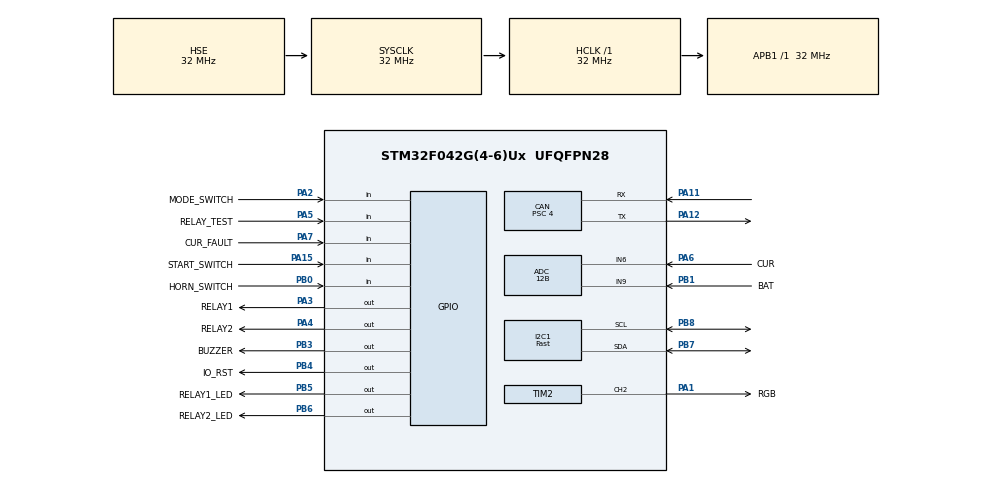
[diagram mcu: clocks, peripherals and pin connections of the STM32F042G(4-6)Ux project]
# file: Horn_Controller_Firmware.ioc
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ADC.Resolution=ADC_RESOLUTION_12B
ADC.SamplingTime=ADC_SAMPLETIME_239CYCLES_5
CAN.ABOM=ENABLE
CAN.BS1=CAN_BS1_4TQ
CAN.BS2=CAN_BS2_3TQ
CAN.CalculateBaudRate=1000000
CAN.CalculateTimeBit=1000
CAN.CalculateTimeQuantum=125.0
CAN.NART=ENABLE
CAN.Prescaler=4
Dma.ADC.1.Direction=DMA_PERIPH_TO_MEMORY
Dma.ADC.1.Instance=DMA1_Channel1
Dma.ADC.1.MemDataAlignment=DMA_MDATAALIGN_WORD
Dma.ADC.1.MemInc=DMA_MINC_ENABLE
Dma.ADC.1.Mode=DMA_NORMAL
Dma.ADC.1.PeriphDataAlignment=DMA_PDATAALIGN_HALFWORD
Dma.ADC.1.PeriphInc=DMA_PINC_DISABLE
Dma.ADC.1.Priority=DMA_PRIORITY_LOW
Dma.Request0=TIM2_CH2
Dma.Request1=ADC
Dma.TIM2_CH2.0.Direction=DMA_MEMORY_TO_PERIPH
Dma.TIM2_CH2.0.Instance=DMA1_Channel3
Dma.TIM2_CH2.0.MemDataAlignment=DMA_MDATAALIGN_BYTE
Dma.TIM2_CH2.0.MemInc=DMA_MINC_ENABLE
Dma.TIM2_CH2.0.Mode=DMA_NORMAL
Dma.TIM2_CH2.0.PeriphDataAlignment=DMA_PDATAALIGN_WORD
Dma.TIM2_CH2.0.PeriphInc=DMA_PINC_DISABLE
Dma.TIM2_CH2.0.Priority=DMA_PRIORITY_LOW
FREERTOS.MEMORY_ALLOCATION=1
FREERTOS.Queues01=hornSequenceQueue,1,uint8_t,0,Static,hornSequenceQueueBuffer,hornSequenceQueueControlBlock;canReceiveQueue,1,uint8_t,0,Static,canReceiveQueueBuffer,canReceiveQueueControlBlock;hornCheckQueue,1,uint8_t,0,Static,hornCheckQueueBuffer,hornCheckQueueControlBlock
FREERTOS.Tasks01=defaultTask,-1,64,StartDefaultTask,Default,NULL,Static,defaultTaskBuffer,defaultTaskControlBlock;displayTask,0,80,StartDisplayTask,Default,NULL,Static,displayTaskBuffer,displayTaskControlBlock;hornTask,1,80,StartHornTask,Default,NULL,Static,HornTaskBuffer,HornTaskControlBlock;CANReceiveTask,3,80,StartCANReceiveTask,Default,NULL,Static,CANReceiveTaskBuffer,CANReceiveTaskControlBlock;hornCheckTask,2,80,StartHornCheckTask,Default,NULL,Static,hornCheckTaskBuffer,hornCheckTaskControlBlock
FREERTOS.configMINIMAL_STACK_SIZE=64
FREERTOS.configUSE_MUTEXES=0
FREERTOS.configUSE_NEWLIB_REENTRANT=1
FREERTOS.configUSE_TASK_NOTIFICATIONS=1
I2C1.I2C_Speed_Mode=I2C_Fast
I2C1.Timing=0x0000020B
Mcu.Family=STM32F0
Mcu.Name=STM32F042G(4-6)Ux
Mcu.Package=UFQFPN28
NVIC.CEC_CAN_IRQn=true\:3\:0\:false\:false\:true\:true\:true\:true\:true
NVIC.DMA1_Channel1_IRQn=true\:3\:0\:false\:false\:true\:true\:false\:true\:true
NVIC.DMA1_Channel2_3_IRQn=true\:3\:0\:false\:false\:true\:true\:false\:true\:true
NVIC.TIM1_BRK_UP_TRG_COM_IRQn=true\:3\:0\:false\:false\:true\:false\:false\:true\:true
NVIC.TIM2_IRQn=true\:3\:0\:false\:false\:true\:true\:true\:true\:true
NVIC.TimeBase=TIM1_BRK_UP_TRG_COM_IRQn
NVIC.TimeBaseIP=TIM1
PA1.GPIO_Label=RGB
PA1.Signal=S_TIM2_CH2
PA11.Mode=CAN_Activate
PA11.Signal=CAN_RX
PA12.Mode=CAN_Activate
PA12.Signal=CAN_TX
PA13.Mode=Serial_Wire
PA13.Signal=SYS_SWDIO
PA14.Mode=Serial_Wire
PA14.Signal=SYS_SWCLK
PA15.GPIO_Label=START_SWITCH
PA15.Signal=GPIO_Input
PA2.GPIO_Label=MODE_SWITCH
PA2.Signal=GPIO_Input
PA3.GPIO_Label=RELAY1
PA3.Signal=GPIO_Output
PA4.GPIO_Label=RELAY2
PA4.Signal=GPIO_Output
PA5.GPIO_Label=RELAY_TEST
PA5.GPIO_PuPd=GPIO_PULLUP
PA5.Signal=GPIO_Input
PA6.GPIO_Label=CUR
PA6.Mode=IN6
PA6.Signal=ADC_IN6
PA7.GPIO_Label=CUR_FAULT
PA7.Signal=GPIO_Input
PB0.GPIO_Label=HORN_SWITCH
PB0.Signal=GPIO_Input
PB1.GPIO_Label=BAT
PB1.Mode=IN9
PB1.Signal=ADC_IN9
PB3.GPIO_Label=BUZZER
PB3.Signal=GPIO_Output
PB4.GPIO_Label=IO_RST
PB4.Signal=GPIO_Output
PB5.GPIO_Label=RELAY1_LED
PB5.Signal=GPIO_Output
PB6.GPIO_Label=RELAY2_LED
PB6.Signal=GPIO_Output
PB7.Mode=I2C
PB7.Signal=I2C1_SDA
PB8.Mode=I2C
PB8.Signal=I2C1_SCL
PF0-OSC_IN.Mode=HSE-External-Oscillator
PF0-OSC_IN.Signal=RCC_OSC_IN
PF1-OSC_OUT.Mode=HSE-External-Oscillator
PF1-OSC_OUT.Signal=RCC_OSC_OUT
ProjectManager.HeapSize=0x200
ProjectManager.StackSize=0x400
ProjectManager.TargetToolchain=STM32CubeIDE
RCC.AHBFreq_Value=32000000
RCC.APB1Freq_Value=32000000
RCC.APB1TimFreq_Value=32000000
RCC.HCLKFreq_Value=32000000
RCC.HSE_VALUE=32000000
RCC.PLLSourceVirtual=RCC_PLLSOURCE_HSE
RCC.SYSCLKFreq_VALUE=32000000
RCC.SYSCLKSource=RCC_SYSCLKSOURCE_HSE
SH.S_TIM2_CH2.0=TIM2_CH2,PWM Generation2 CH2
TIM2.Channel-PWM\ Generation2\ CH2=TIM_CHANNEL_2
TIM2.Period=39
VP_FREERTOS_VS_CMSIS_V1.Mode=CMSIS_V1
VP_SYS_VS_PINREMAP.Mode=PINREMAP
VP_SYS_VS_tim1.Mode=TIM1
board=custom

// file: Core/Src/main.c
/* USER CODE BEGIN Header */
/**
  ******************************************************************************
  * @file           : main.c
  * @brief          : Main program body
  ******************************************************************************
  * @attention
  *
  * Copyright (c) 2024 STMicroelectronics.
  * All rights reserved.
  *
  * This software is licensed under terms that can be found in the LICENSE file
  * in the root directory of this software component.
  * If no LICENSE file comes with this software, it is provided AS-IS.
  *
  ******************************************************************************
  */
/* USER CODE END Header */
#include "main.h"
#include "cmsis_os.h"

/* USER CODE BEGIN Includes */
#include "Display.h"
#include "TCA6424.h"
#include "WS2812.h"
/* USER CODE END Includes */

/* USER CODE BEGIN PD */
#define HORN_MODE_THREE_MINUTE 1
#define HORN_MODE_FIVE_MINUTE 0
#define HORN_MODE_ROLLING 0b10
#define HORN_MODE_STOP 0b11

#define RELAY_OK 0
#define RELAY_ERR 1
#define RELAY_TWO 1
#define RELAY_ONE 0

#define RGB_BAT 0
#define RGB_REMOTE 1
#define RGB_MODE 2

#define ADC_CUR 0
#define ADC_BAT 1

#define CAN_REMOTE_ID ((0xBB)<<3)
#define CAN_CONTROLLER_ID ((0xAA)<<3)
#define CAN_MSG_START 0b010
#define CAN_MSG_HORN 0b011
#define CAN_MSG_PERIODIC 0b000
#define CAN_MSG_TIME 0b001
#define CAN_MSG_ERROR 0b111
#define CAN_MSG_BUZZER 0b100

#define ERROR_CODE_VOLT 1
#define ERROR_CODE_CUR 2

#define RUNNING 1
#define STOPPED 0
/* USER CODE END PD */

ADC_HandleTypeDef hadc;
DMA_HandleTypeDef hdma_adc;

CAN_HandleTypeDef hcan;

I2C_HandleTypeDef hi2c1;

TIM_HandleTypeDef htim2;
DMA_HandleTypeDef hdma_tim2_ch2;

osThreadId defaultTaskHandle;
uint32_t defaultTaskBuffer[ 64 ];
osStaticThreadDef_t defaultTaskControlBlock;
osThreadId displayTaskHandle;
uint32_t displayTaskBuffer[ 80 ];
osStaticThreadDef_t displayTaskControlBlock;
osThreadId hornTaskHandle;
uint32_t HornTaskBuffer[ 80 ];
osStaticThreadDef_t HornTaskControlBlock;
osThreadId CANReceiveTaskHandle;
uint32_t CANReceiveTaskBuffer[ 80 ];
osStaticThreadDef_t CANReceiveTaskControlBlock;
osThreadId hornCheckTaskHandle;
uint32_t hornCheckTaskBuffer[ 80 ];
osStaticThreadDef_t hornCheckTaskControlBlock;
osMessageQId hornSequenceQueueHandle;
uint8_t hornSequenceQueueBuffer[ 1 * sizeof( uint8_t ) ];
osStaticMessageQDef_t hornSequenceQueueControlBlock;
osMessageQId canReceiveQueueHandle;
uint8_t canReceiveQueueBuffer[ 1 * sizeof( uint8_t ) ];
osStaticMessageQDef_t canReceiveQueueControlBlock;
osMessageQId hornCheckQueueHandle;
uint8_t hornCheckQueueBuffer[ 1 * sizeof( uint8_t ) ];
osStaticMessageQDef_t hornCheckQueueControlBlock;
/* USER CODE BEGIN PV */
TCA6424 ioexpander;

WS2812 rgbLeds;
uint8_t rgbBuffer[WS2812_BUF_LEN];
uint8_t rgbData[9] = {20,0,0,20,0,0,20,0,0};

uint8_t relay1Condition;
uint8_t relay2Condition;
//relay used to power horn(defaults to RELAY_2)
uint8_t currentRelay = RELAY_TWO;

uint32_t adcResults[2];

uint8_t dummyData = 0;

uint8_t hornMode = HORN_MODE_THREE_MINUTE;

const TickType_t hornSequence_Five[4] = {60000, 120000, 300000, 360000};
const TickType_t hornLengths_Five[4] = {900, 900, 2000, 900};
const TickType_t sequenceLength_Five = 360000;

const TickType_t hornSequence_Three[12] = {20000, 20500, 21000, 21500, 22000, 30000, 31500, 33000, 90000, 91500, 150000, 210000};
const TickType_t hornLengths_Three[12] = {250, 250, 250, 250, 250, 900, 900, 900, 900, 900, 900, 900};
const TickType_t sequenceLength_Three = 210000;

TickType_t timerStartTick;
uint8_t isRunning = STOPPED;
/* USER CODE END PV */

void SystemClock_Config(void);
static void MX_GPIO_Init(void);
static void MX_DMA_Init(void);
static void MX_ADC_Init(void);
static void MX_CAN_Init(void);
static void MX_I2C1_Init(void);
static void MX_TIM2_Init(void);
void StartDefaultTask(void const * argument);
void StartDisplayTask(void const * argument);
void StartHornTask(void const * argument);
void StartCANReceiveTask(void const * argument);
void StartHornCheckTask(void const * argument);

/* USER CODE BEGIN PFP */
static uint16_t CalculatePercentage(uint32_t adcReading);
static void setRelay(GPIO_PinState state);
static void updateHornMode();
static void updateDisplays(uint8_t minutes, uint8_t seconds);
static void updateRGB();
static void sendError(uint8_t errorCode);
static uint8_t getRelay();
/* USER CODE END PFP */

/* USER CODE BEGIN 0 */
void HAL_TIM_PWM_PulseFinishedCallback(TIM_HandleTypeDef *htim){
  WS2812_StopDMA(&rgbLeds);
}

void HAL_CAN_RxFifo0MsgPendingCallback(CAN_HandleTypeDef *hcan){
  HAL_CAN_DeactivateNotification(hcan, CAN_IT_RX_FIFO0_MSG_PENDING);

  static BaseType_t xHigherPriorityTaskWoken = pdFALSE;

  xQueueSendFromISR(canReceiveQueueHandle, &dummyData,  &xHigherPriorityTaskWoken);

  portYIELD_FROM_ISR(xHigherPriorityTaskWoken);
}
/* USER CODE END 0 */

int main(void)
{

  /* MCU Configuration--------------------------------------------------------*/

  /* Reset of all peripherals, Initializes the Flash interface and the Systick. */
  HAL_Init();

  /* Configure the system clock */
  SystemClock_Config();

  /* Initialize all configured peripherals */
  MX_GPIO_Init();
  MX_DMA_Init();
  MX_ADC_Init();
  MX_CAN_Init();
  MX_I2C1_Init();
  MX_TIM2_Init();
  /* USER CODE BEGIN 2 */
  WS2812_Reset_Buf(rgbBuffer);
  WS2812_Init(&rgbLeds, &htim2, TIM_CHANNEL_2);
  WS2812_Send(&rgbLeds, rgbBuffer);

  TCA6424_Init(&ioexpander, &hi2c1, GPIOB, IO_RST_Pin);
  TCA6424_SetAsOutputs(&ioexpander);

  updateHornMode();
  updateRGB();
  /* USER CODE END 2 */

  /* Create the queue(s) */
  /* definition and creation of hornSequenceQueue */
  osMessageQStaticDef(hornSequenceQueue, 1, uint8_t, hornSequenceQueueBuffer, &hornSequenceQueueControlBlock);
  hornSequenceQueueHandle = osMessageCreate(osMessageQ(hornSequenceQueue), NULL);

  /* definition and creation of canReceiveQueue */
  osMessageQStaticDef(canReceiveQueue, 1, uint8_t, canReceiveQueueBuffer, &canReceiveQueueControlBlock);
  canReceiveQueueHandle = osMessageCreate(osMessageQ(canReceiveQueue), NULL);

  /* definition and creation of hornCheckQueue */
  osMessageQStaticDef(hornCheckQueue, 1, uint8_t, hornCheckQueueBuffer, &hornCheckQueueControlBlock);
  hornCheckQueueHandle = osMessageCreate(osMessageQ(hornCheckQueue), NULL);

  /* Create the thread(s) */
  /* definition and creation of defaultTask */
  osThreadStaticDef(defaultTask, StartDefaultTask, osPriorityBelowNormal, 0, 64, defaultTaskBuffer, &defaultTaskControlBlock);
  defaultTaskHandle = osThreadCreate(osThread(defaultTask), NULL);

  /* definition and creation of displayTask */
  osThreadStaticDef(displayTask, StartDisplayTask, osPriorityNormal, 0, 80, displayTaskBuffer, &displayTaskControlBlock);
  displayTaskHandle = osThreadCreate(osThread(displayTask), NULL);

  /* definition and creation of hornTask */
  osThreadStaticDef(hornTask, StartHornTask, osPriorityAboveNormal, 0, 80, HornTaskBuffer, &HornTaskControlBlock);
  hornTaskHandle = osThreadCreate(osThread(hornTask), NULL);

  /* definition and creation of CANReceiveTask */
  osThreadStaticDef(CANReceiveTask, StartCANReceiveTask, osPriorityRealtime, 0, 80, CANReceiveTaskBuffer, &CANReceiveTaskControlBlock);
  CANReceiveTaskHandle = osThreadCreate(osThread(CANReceiveTask), NULL);

  /* definition and creation of hornCheckTask */
  osThreadStaticDef(hornCheckTask, StartHornCheckTask, osPriorityHigh, 0, 80, hornCheckTaskBuffer, &hornCheckTaskControlBlock);
  hornCheckTaskHandle = osThreadCreate(osThread(hornCheckTask), NULL);

  /* Start scheduler */
  osKernelStart();

  /* We should never get here as control is now taken by the scheduler */
  /* Infinite loop */
  while (1)
  {

  }
}

void SystemClock_Config(void)
{
  RCC_OscInitTypeDef RCC_OscInitStruct = {0};
  RCC_ClkInitTypeDef RCC_ClkInitStruct = {0};
  RCC_PeriphCLKInitTypeDef PeriphClkInit = {0};

  /** Initializes the RCC Oscillators according to the specified parameters
  * in the RCC_OscInitTypeDef structure.
  */
  RCC_OscInitStruct.OscillatorType = RCC_OSCILLATORTYPE_HSI|RCC_OSCILLATORTYPE_HSI14
                              |RCC_OSCILLATORTYPE_HSE;
  RCC_OscInitStruct.HSEState = RCC_HSE_ON;
  RCC_OscInitStruct.HSIState = RCC_HSI_ON;
  RCC_OscInitStruct.HSI14State = RCC_HSI14_ON;
  RCC_OscInitStruct.HSICalibrationValue = RCC_HSICALIBRATION_DEFAULT;
  RCC_OscInitStruct.HSI14CalibrationValue = 16;
  RCC_OscInitStruct.PLL.PLLState = RCC_PLL_NONE;
  if (HAL_RCC_OscConfig(&RCC_OscInitStruct) != HAL_OK)
  {
    Error_Handler();
  }

  /** Initializes the CPU, AHB and APB buses clocks
  */
  RCC_ClkInitStruct.ClockType = RCC_CLOCKTYPE_HCLK|RCC_CLOCKTYPE_SYSCLK
                              |RCC_CLOCKTYPE_PCLK1;
  RCC_ClkInitStruct.SYSCLKSource = RCC_SYSCLKSOURCE_HSE;
  RCC_ClkInitStruct.AHBCLKDivider = RCC_SYSCLK_DIV1;
  RCC_ClkInitStruct.APB1CLKDivider = RCC_HCLK_DIV1;

  if (HAL_RCC_ClockConfig(&RCC_ClkInitStruct, FLASH_LATENCY_1) != HAL_OK)
  {
    Error_Handler();
  }
  PeriphClkInit.PeriphClockSelection = RCC_PERIPHCLK_I2C1;
  PeriphClkInit.I2c1ClockSelection = RCC_I2C1CLKSOURCE_HSI;
  if (HAL_RCCEx_PeriphCLKConfig(&PeriphClkInit) != HAL_OK)
  {
    Error_Handler();
  }
}

static void MX_ADC_Init(void)
{

  ADC_ChannelConfTypeDef sConfig = {0};

  /** Configure the global features of the ADC (Clock, Resolution, Data Alignment and number of conversion)
  */
  hadc.Instance = ADC1;
  hadc.Init.ClockPrescaler = ADC_CLOCK_ASYNC_DIV1;
  hadc.Init.Resolution = ADC_RESOLUTION_12B;
  hadc.Init.DataAlign = ADC_DATAALIGN_RIGHT;
  hadc.Init.ScanConvMode = ADC_SCAN_DIRECTION_FORWARD;
  hadc.Init.EOCSelection = ADC_EOC_SINGLE_CONV;
  hadc.Init.LowPowerAutoWait = DISABLE;
  hadc.Init.LowPowerAutoPowerOff = DISABLE;
  hadc.Init.ContinuousConvMode = DISABLE;
  hadc.Init.DiscontinuousConvMode = DISABLE;
  hadc.Init.ExternalTrigConv = ADC_SOFTWARE_START;
  hadc.Init.ExternalTrigConvEdge = ADC_EXTERNALTRIGCONVEDGE_NONE;
  hadc.Init.DMAContinuousRequests = DISABLE;
  hadc.Init.Overrun = ADC_OVR_DATA_PRESERVED;
  if (HAL_ADC_Init(&hadc) != HAL_OK)
  {
    Error_Handler();
  }

  /** Configure for the selected ADC regular channel to be converted.
  */
  sConfig.Channel = ADC_CHANNEL_6;
  sConfig.Rank = ADC_RANK_CHANNEL_NUMBER;
  sConfig.SamplingTime = ADC_SAMPLETIME_239CYCLES_5;
  if (HAL_ADC_ConfigChannel(&hadc, &sConfig) != HAL_OK)
  {
    Error_Handler();
  }

  /** Configure for the selected ADC regular channel to be converted.
  */
  sConfig.Channel = ADC_CHANNEL_9;
  if (HAL_ADC_ConfigChannel(&hadc, &sConfig) != HAL_OK)
  {
    Error_Handler();
  }
  /* USER CODE BEGIN ADC_Init 2 */
  HAL_ADCEx_Calibration_Start(&hadc);
  /* USER CODE END ADC_Init 2 */

}

static void MX_CAN_Init(void)
{

  hcan.Instance = CAN;
  hcan.Init.Prescaler = 4;
  hcan.Init.Mode = CAN_MODE_NORMAL;
  hcan.Init.SyncJumpWidth = CAN_SJW_1TQ;
  hcan.Init.TimeSeg1 = CAN_BS1_4TQ;
  hcan.Init.TimeSeg2 = CAN_BS2_3TQ;
  hcan.Init.TimeTriggeredMode = DISABLE;
  hcan.Init.AutoBusOff = ENABLE;
  hcan.Init.AutoWakeUp = DISABLE;
  hcan.Init.AutoRetransmission = ENABLE;
  hcan.Init.ReceiveFifoLocked = DISABLE;
  hcan.Init.TransmitFifoPriority = DISABLE;
  if (HAL_CAN_Init(&hcan) != HAL_OK)
  {
    Error_Handler();
  }
  /* USER CODE BEGIN CAN_Init 2 */
  if (HAL_CAN_Start(&hcan) != HAL_OK)
  {
    Error_Handler();
  }

  CAN_FilterTypeDef filter;
  filter.FilterBank = 0;
  filter.FilterMode = CAN_FILTERMODE_IDMASK;
  filter.FilterScale = CAN_FILTERSCALE_32BIT;
  filter.FilterMaskIdHigh = 0x0;
  filter.FilterMaskIdLow = 0x0;
  filter.FilterFIFOAssignment = CAN_RX_FIFO0;
  filter.FilterActivation = ENABLE;
  HAL_CAN_ConfigFilter(&hcan, &filter);
  /* USER CODE END CAN_Init 2 */

}

static void MX_I2C1_Init(void)
{

  hi2c1.Instance = I2C1;
  hi2c1.Init.Timing = 0x0000020B;
  hi2c1.Init.OwnAddress1 = 0;
  hi2c1.Init.AddressingMode = I2C_ADDRESSINGMODE_7BIT;
  hi2c1.Init.DualAddressMode = I2C_DUALADDRESS_DISABLE;
  hi2c1.Init.OwnAddress2 = 0;
  hi2c1.Init.OwnAddress2Masks = I2C_OA2_NOMASK;
  hi2c1.Init.GeneralCallMode = I2C_GENERALCALL_DISABLE;
  hi2c1.Init.NoStretchMode = I2C_NOSTRETCH_DISABLE;
  if (HAL_I2C_Init(&hi2c1) != HAL_OK)
  {
    Error_Handler();
  }

  /** Configure Analogue filter
  */
  if (HAL_I2CEx_ConfigAnalogFilter(&hi2c1, I2C_ANALOGFILTER_ENABLE) != HAL_OK)
  {
    Error_Handler();
  }

  /** Configure Digital filter
  */
  if (HAL_I2CEx_ConfigDigitalFilter(&hi2c1, 0) != HAL_OK)
  {
    Error_Handler();
  }

}

static void MX_TIM2_Init(void)
{

  TIM_MasterConfigTypeDef sMasterConfig = {0};
  TIM_OC_InitTypeDef sConfigOC = {0};

  htim2.Instance = TIM2;
  htim2.Init.Prescaler = 0;
  htim2.Init.CounterMode = TIM_COUNTERMODE_UP;
  htim2.Init.Period = 39;
  htim2.Init.ClockDivision = TIM_CLOCKDIVISION_DIV1;
  htim2.Init.AutoReloadPreload = TIM_AUTORELOAD_PRELOAD_DISABLE;
  if (HAL_TIM_PWM_Init(&htim2) != HAL_OK)
  {
    Error_Handler();
  }
  sMasterConfig.MasterOutputTrigger = TIM_TRGO_RESET;
  sMasterConfig.MasterSlaveMode = TIM_MASTERSLAVEMODE_DISABLE;
  if (HAL_TIMEx_MasterConfigSynchronization(&htim2, &sMasterConfig) != HAL_OK)
  {
    Error_Handler();
  }
  sConfigOC.OCMode = TIM_OCMODE_PWM1;
  sConfigOC.Pulse = 0;
  sConfigOC.OCPolarity = TIM_OCPOLARITY_HIGH;
  sConfigOC.OCFastMode = TIM_OCFAST_DISABLE;
  if (HAL_TIM_PWM_ConfigChannel(&htim2, &sConfigOC, TIM_CHANNEL_2) != HAL_OK)
  {
    Error_Handler();
  }
  HAL_TIM_MspPostInit(&htim2);

}

static void MX_DMA_Init(void)
{

  /* DMA controller clock enable */
  __HAL_RCC_DMA1_CLK_ENABLE();

  /* DMA interrupt init */
  /* DMA1_Channel1_IRQn interrupt configuration */
  HAL_NVIC_SetPriority(DMA1_Channel1_IRQn, 3, 0);
  HAL_NVIC_EnableIRQ(DMA1_Channel1_IRQn);
  /* DMA1_Channel2_3_IRQn interrupt configuration */
  HAL_NVIC_SetPriority(DMA1_Channel2_3_IRQn, 3, 0);
  HAL_NVIC_EnableIRQ(DMA1_Channel2_3_IRQn);

}

static void MX_GPIO_Init(void)
{
  GPIO_InitTypeDef GPIO_InitStruct = {0};

  /* GPIO Ports Clock Enable */
  __HAL_RCC_GPIOB_CLK_ENABLE();
  __HAL_RCC_GPIOF_CLK_ENABLE();
  __HAL_RCC_GPIOA_CLK_ENABLE();

  /*Configure GPIO pin Output Level */
  HAL_GPIO_WritePin(GPIOA, RELAY1_Pin|RELAY2_Pin, GPIO_PIN_RESET);

  /*Configure GPIO pin Output Level */
  HAL_GPIO_WritePin(GPIOB, BUZZER_Pin|IO_RST_Pin|RELAY1_LED_Pin|RELAY2_LED_Pin, GPIO_PIN_RESET);

  /*Configure GPIO pins : MODE_SWITCH_Pin CUR_FAULT_Pin START_SWITCH_Pin */
  GPIO_InitStruct.Pin = MODE_SWITCH_Pin|CUR_FAULT_Pin|START_SWITCH_Pin;
  GPIO_InitStruct.Mode = GPIO_MODE_INPUT;
  GPIO_InitStruct.Pull = GPIO_NOPULL;
  HAL_GPIO_Init(GPIOA, &GPIO_InitStruct);

  /*Configure GPIO pins : RELAY1_Pin RELAY2_Pin */
  GPIO_InitStruct.Pin = RELAY1_Pin|RELAY2_Pin;
  GPIO_InitStruct.Mode = GPIO_MODE_OUTPUT_PP;
  GPIO_InitStruct.Pull = GPIO_NOPULL;
  GPIO_InitStruct.Speed = GPIO_SPEED_FREQ_LOW;
  HAL_GPIO_Init(GPIOA, &GPIO_InitStruct);

  /*Configure GPIO pin : RELAY_TEST_Pin */
  GPIO_InitStruct.Pin = RELAY_TEST_Pin;
  GPIO_InitStruct.Mode = GPIO_MODE_INPUT;
  GPIO_InitStruct.Pull = GPIO_PULLUP;
  HAL_GPIO_Init(RELAY_TEST_GPIO_Port, &GPIO_InitStruct);

  /*Configure GPIO pin : HORN_SWITCH_Pin */
  GPIO_InitStruct.Pin = HORN_SWITCH_Pin;
  GPIO_InitStruct.Mode = GPIO_MODE_INPUT;
  GPIO_InitStruct.Pull = GPIO_NOPULL;
  HAL_GPIO_Init(HORN_SWITCH_GPIO_Port, &GPIO_InitStruct);

  /*Configure GPIO pins : BUZZER_Pin IO_RST_Pin RELAY1_LED_Pin RELAY2_LED_Pin */
  GPIO_InitStruct.Pin = BUZZER_Pin|IO_RST_Pin|RELAY1_LED_Pin|RELAY2_LED_Pin;
  GPIO_InitStruct.Mode = GPIO_MODE_OUTPUT_PP;
  GPIO_InitStruct.Pull = GPIO_NOPULL;
  GPIO_InitStruct.Speed = GPIO_SPEED_FREQ_LOW;
  HAL_GPIO_Init(GPIOB, &GPIO_InitStruct);

}

/* USER CODE BEGIN 4 */
static uint16_t CalculatePercentage(uint32_t adcReading){
  int32_t percentage = (adcReading*3363)/10000 - 923;
  uint8_t result;
  if (percentage<0){
    result = 0;
  }
  else if (percentage>100){
    result = 100;
  } else {
    result = percentage;
  }
  result = (result/5) * 5;
  return result;
}

static void setRelay(GPIO_PinState state){
  if (currentRelay == RELAY_ONE){
    HAL_GPIO_WritePin(GPIOA, RELAY1_Pin, state);
    HAL_GPIO_WritePin(RELAY1_LED_GPIO_Port, RELAY1_LED_Pin, state);
  } else {
    HAL_GPIO_WritePin(GPIOA, RELAY2_Pin, state);
    HAL_GPIO_WritePin(RELAY2_LED_GPIO_Port, RELAY2_LED_Pin, state);
  }
  if (state == GPIO_PIN_SET) {
    xQueueSendToBack(hornCheckQueueHandle, &dummyData, 0);
  }
}

static uint8_t getRelay(){
  if (currentRelay == RELAY_ONE){
    return HAL_GPIO_ReadPin(GPIOA, RELAY1_Pin);
  } else {
    return HAL_GPIO_ReadPin(GPIOA, RELAY2_Pin);
  }
}

static void updateHornMode(){
  hornMode = HAL_GPIO_ReadPin(GPIOA, MODE_SWITCH_Pin);
  if (hornMode == HORN_MODE_FIVE_MINUTE){
    rgbData[6] = 0;
    rgbData[7] = 0;
    rgbData[8] = 20;
  } else {
    rgbData[6] = 0;
    rgbData[7] = 10;
    rgbData[8] = 20;
  }
}

static void updateDisplays(uint8_t minutes, uint8_t seconds){
  static uint32_t mailbox;
  static uint8_t timerCanData[3];
  static CAN_TxHeaderTypeDef CANHeader;
  CANHeader.StdId = CAN_CONTROLLER_ID | CAN_MSG_TIME;
  CANHeader.DLC = 0x03;
  CANHeader.IDE = CAN_ID_STD;
  CANHeader.RTR = CAN_RTR_DATA;

  timerCanData[0] = minutes;
  timerCanData[1] = seconds;
  timerCanData[2] = (isRunning << 1) | hornMode;

  Display_SetMinSec(&ioexpander, minutes, seconds);
  HAL_CAN_AddTxMessage(&hcan, &CANHeader, timerCanData, &mailbox);
}

static void updateRGB(){
  WS2812_Write_Buf(rgbBuffer, rgbData[0], rgbData[1], rgbData[2], RGB_BAT);
  WS2812_Write_Buf(rgbBuffer, rgbData[3], rgbData[4], rgbData[5], RGB_REMOTE);
  WS2812_Write_Buf(rgbBuffer, rgbData[6], rgbData[7], rgbData[8], RGB_MODE);
  WS2812_Send(&rgbLeds, rgbBuffer);
}

static void sendError(uint8_t errorCode){
  static uint32_t mailbox;
  static uint8_t sendData;
  static CAN_TxHeaderTypeDef CANHeader;
  CANHeader.StdId = CAN_CONTROLLER_ID | CAN_MSG_ERROR;
  CANHeader.DLC = 0x01;
  CANHeader.IDE = CAN_ID_STD;
  CANHeader.RTR = CAN_RTR_DATA;

  sendData = errorCode;

  HAL_CAN_AddTxMessage(&hcan, &CANHeader, &sendData, &mailbox);
}
/* USER CODE END 4 */

void StartDefaultTask(void const * argument)
{
  /* USER CODE BEGIN 5 */
  /* Infinite loop */
  for(;;)
  {
   vTaskDelay(1);
  }
  /* USER CODE END 5 */
}

void StartDisplayTask(void const * argument)
{
  /* USER CODE BEGIN StartDisplayTask */
  /* Infinite loop */
  TickType_t taskStartTick = xTaskGetTickCount();

  //show voltage for 5 seconds
  while((xTaskGetTickCount() - taskStartTick) < 7000){
    HAL_ADC_Start_DMA(&hadc, adcResults, 2);
    vTaskDelay(10);
    uint8_t percentage = CalculatePercentage(adcResults[ADC_BAT]);
    rgbData[0] = 20-(percentage/5);
    rgbData[1] = percentage/5;
    updateDisplays(percentage/100, percentage%100);
    updateRGB();
    vTaskDelay(125);
  }

  for(;;)
  {
    if(!isRunning){
      updateHornMode();
      timerStartTick = xTaskGetTickCount();
    }

    // 5 minute horn has stopped
    if((sequenceLength_Five+1000+timerStartTick) < xTaskGetTickCount()){
      timerStartTick = xTaskGetTickCount() - 61000;
    }

    //three minute horn has ended
    if((hornMode == HORN_MODE_THREE_MINUTE) && (sequenceLength_Three+1000+timerStartTick) < xTaskGetTickCount()){
      isRunning = STOPPED;
    }

    if (!isRunning && (hornMode == HORN_MODE_FIVE_MINUTE)){
      updateDisplays(6, 0);
    } else if (!isRunning && (hornMode == HORN_MODE_THREE_MINUTE)){
      updateDisplays(3, 30);
    } else {
      uint16_t secondsToZero = ((sequenceLength_Five+1000)+timerStartTick-xTaskGetTickCount())/1000;
      if(hornMode == HORN_MODE_THREE_MINUTE){
        secondsToZero = ((sequenceLength_Three+1000)+timerStartTick-xTaskGetTickCount())/1000;
      }
      uint8_t minutes = secondsToZero/60;
      uint8_t seconds = secondsToZero%60;
      updateDisplays(minutes, seconds);
    }
    updateRGB();
    vTaskDelay(10);
  }
  /* USER CODE END StartDisplayTask */
}

/* USER CODE BEGIN Header_StartHornTask */
/**
* @brief starts horn sequence when data is added to queue. Will stop the sequence and wait for more data if data is sent while running sequence of horns
* @param argument: Not used
* @retval None
*/
/* USER CODE END Header_StartHornTask */
void StartHornTask(void const * argument)
{
  /* USER CODE BEGIN StartHornTask */
  /* Infinite loop */
  static uint8_t settings;
  static uint8_t sequenceStopped = 0;
  static uint8_t rolling = HORN_MODE_ROLLING;
  for(;;)
  {
    xQueueReceive(hornSequenceQueueHandle, &settings, portMAX_DELAY);

    if (settings == HORN_MODE_THREE_MINUTE){

      /* 3 minute horns */
      for (uint8_t i = 0; i < (sizeof(hornLengths_Three)/4); i++) {
        TickType_t delayAmount = hornSequence_Three[i]+timerStartTick-xTaskGetTickCount();
        if (xQueueReceive(hornSequenceQueueHandle, &settings, delayAmount) == pdTRUE) {break;};
        setRelay(GPIO_PIN_SET);
        if (xQueueReceive(hornSequenceQueueHandle, &settings, hornLengths_Three[i]) == pdTRUE) {break;}
        setRelay(GPIO_PIN_RESET);
      }
      /* 3 minute horns */

    } else if (settings == HORN_MODE_FIVE_MINUTE){

      /* 5 minute horns */
      for (uint8_t i = 0; i < (sizeof(hornLengths_Five)/4); i++) {
        TickType_t delayAmount = hornSequence_Five[i]+timerStartTick-xTaskGetTickCount();
        if (xQueueReceive(hornSequenceQueueHandle, &settings, delayAmount) == pdTRUE) {sequenceStopped = 1; break;};
        setRelay(GPIO_PIN_SET);
        if (xQueueReceive(hornSequenceQueueHandle, &settings, hornLengths_Five[i]) == pdTRUE) {sequenceStopped = 1; break;};
        setRelay(GPIO_PIN_RESET);
      }
      if(!sequenceStopped){
        xQueueSendToBack(hornSequenceQueueHandle, &rolling, 5);
      }
      /* 5 minute horns */

    } else if (settings == HORN_MODE_ROLLING){

      /* rolling horns */
      //wait for timerStartTick to be set
      if (xQueueReceive(hornSequenceQueueHandle, &settings, 2000) == pdTRUE) {sequenceStopped = 1;};
      for (uint8_t i = 1; i < (sizeof(hornLengths_Five)/4); i++) {
        if(sequenceStopped) {break;}
        TickType_t delayAmount = hornSequence_Five[i]+timerStartTick-xTaskGetTickCount();
        if (xQueueReceive(hornSequenceQueueHandle, &settings, delayAmount) == pdTRUE) {sequenceStopped = 1; break;}
        setRelay(GPIO_PIN_SET);
        if (xQueueReceive(hornSequenceQueueHandle, &settings, hornLengths_Five[i]) == pdTRUE) {sequenceStopped = 1; break;}
        setRelay(GPIO_PIN_RESET);
      }
      if(!sequenceStopped){
        xQueueSendToBack(hornSequenceQueueHandle, &rolling, 5);
      }
     /* rolling horns */

    }
    sequenceStopped = 0;
    setRelay(GPIO_PIN_RESET);
  }
  /* USER CODE END StartHornTask */
}

void StartCANReceiveTask(void const * argument)
{
  /* USER CODE BEGIN StartCANReceiveTask */
  /* Infinite loop */
  HAL_CAN_ActivateNotification(&hcan, CAN_IT_RX_FIFO0_MSG_PENDING);
  static uint8_t stop = HORN_MODE_STOP;
  static CAN_RxHeaderTypeDef canHeader;
  static uint8_t canData[8];

  for(;;)
  {
    if (xQueueReceive(canReceiveQueueHandle, &dummyData, 1000) == pdFALSE){
      isRunning = STOPPED;
      rgbData[3] = 20;
      rgbData[4] = 0;
      xQueueSendToBack(hornSequenceQueueHandle, &stop, 0);
    } else {
      HAL_CAN_GetRxMessage(&hcan, CAN_RX_FIFO0, &canHeader, canData);
      rgbData[3] = 0;
      rgbData[4] = 20;

      if (canHeader.StdId == (CAN_REMOTE_ID | CAN_MSG_START)){
        if (!isRunning){
          isRunning = RUNNING;
          timerStartTick = xTaskGetTickCount();
          xQueueSendToBack(hornSequenceQueueHandle, &hornMode, 0);
        } else {
          isRunning = STOPPED;
          xQueueSendToBack(hornSequenceQueueHandle, &stop, 0);
        }
      }

      if (canHeader.StdId == (CAN_REMOTE_ID | CAN_MSG_BUZZER)){
        HAL_GPIO_WritePin(BUZZER_GPIO_Port, BUZZER_Pin, canData[0]);
      }

      HAL_CAN_ActivateNotification(&hcan, CAN_IT_RX_FIFO0_MSG_PENDING);
    }

  }
  /* USER CODE END StartCANReceiveTask */
}

void StartHornCheckTask(void const * argument)
{
  /* USER CODE BEGIN StartHornCheckTask */
  /* Infinite loop */
  for(;;)
  {
    xQueueReceive(hornCheckQueueHandle, &dummyData, portMAX_DELAY);
    //wait for relay to close and horn to start
    vTaskDelay(100);
    HAL_ADC_Start_DMA(&hadc, adcResults, 2);
    vTaskDelay(5);

    if ((adcResults[ADC_CUR] < 2250) && (getRelay()== GPIO_PIN_SET)) {
      if (HAL_GPIO_ReadPin(RELAY_TEST_GPIO_Port, RELAY_TEST_Pin) != GPIO_PIN_RESET) {
        sendError(ERROR_CODE_VOLT);
        setRelay(GPIO_PIN_RESET);
        currentRelay = !currentRelay;
        setRelay(GPIO_PIN_SET);
      } else {
        sendError(ERROR_CODE_CUR);
      }
    }
  }
  /* USER CODE END StartHornCheckTask */
}

void HAL_TIM_PeriodElapsedCallback(TIM_HandleTypeDef *htim)
{
  if (htim->Instance == TIM1) {
    HAL_IncTick();
  }
}

void Error_Handler(void)
{
  __disable_irq();
  while (1)
  {
  }
}
